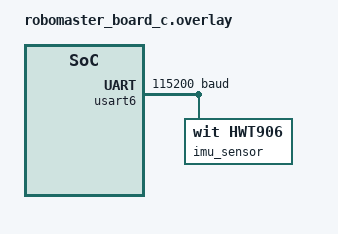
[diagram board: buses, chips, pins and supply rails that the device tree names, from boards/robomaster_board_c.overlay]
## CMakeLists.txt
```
cmake_minimum_required(VERSION 3.20.0)

find_package(Zephyr REQUIRED HINTS $ENV{ZEPHYR_BASE})
project(wit_hwt906_test)

target_include_directories(app PUBLIC ${CMAKE_CURRENT_SOURCE_DIR}/include)

file(GLOB app_sources "src/*.c")
target_sources(app PRIVATE ${app_sources})
```

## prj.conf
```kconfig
CONFIG_STDOUT_CONSOLE=y
CONFIG_PRINTK=y

CONFIG_SERIAL=y
CONFIG_SENSOR=y

CONFIG_WIT_HWT906=y
```

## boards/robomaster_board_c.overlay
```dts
/* app.overlay */
/ {
    aliases {
        my-imu = &imu_sensor;
    };
};

&usart6 {
    status = "okay";
    current-speed = <115200>;

    imu_sensor: hwt906 {
        compatible = "wit,hwt906";
        status = "okay";
    };
};
```

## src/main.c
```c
#include <zephyr/kernel.h>
#include <zephyr/device.h>
#include <zephyr/drivers/sensor.h>

int main(void)
{
	const struct device *dev = DEVICE_DT_GET(DT_ALIAS(my_imu));

	if (!device_is_ready(dev)) {
		printk("Device not ready\n");
		return 0;
	}

	printk("Start polling HWT906...\n");

	struct sensor_value time[4];
	struct sensor_value accel[3];
	struct sensor_value gyro[3];
	struct sensor_value angle[3];
	struct sensor_value mag[3];

	while (1) {
		if (sensor_sample_fetch(dev) < 0) {
			k_sleep(K_MSEC(10));
			continue;
		}

		sensor_channel_get(dev, SENSOR_CHAN_PRIV_START, time);
		sensor_channel_get(dev, SENSOR_CHAN_ACCEL_XYZ, accel);
		sensor_channel_get(dev, SENSOR_CHAN_GYRO_XYZ, gyro);
		sensor_channel_get(dev, SENSOR_CHAN_ROTATION, angle);
		sensor_channel_get(dev, SENSOR_CHAN_MAGN_XYZ, mag);

		printk("Time: %02d:%02d:%02d.%03d | ", time[0].val1, time[1].val1, time[2].val1,
		       time[3].val1);
		printk("Acc: X=%.2f Y=%.2f Z=%.2f | ", sensor_value_to_double(&accel[0]),
		       sensor_value_to_double(&accel[1]), sensor_value_to_double(&accel[2]));
		printk("Gyro: X=%.2f Y=%.2f Z=%.2f | ", sensor_value_to_double(&gyro[0]),
		       sensor_value_to_double(&gyro[1]), sensor_value_to_double(&gyro[2]));
		printk("Angle: R=%.2f P=%.2f Y=%.2f | ", sensor_value_to_double(&angle[0]),
		       sensor_value_to_double(&angle[1]), sensor_value_to_double(&angle[2]));
		printk("Mag: X=%.2f Y=%.2f Z=%.2f\n", sensor_value_to_double(&mag[0]),
		       sensor_value_to_double(&mag[1]), sensor_value_to_double(&mag[2]));

		k_sleep(K_MSEC(300));
	}
}
```
